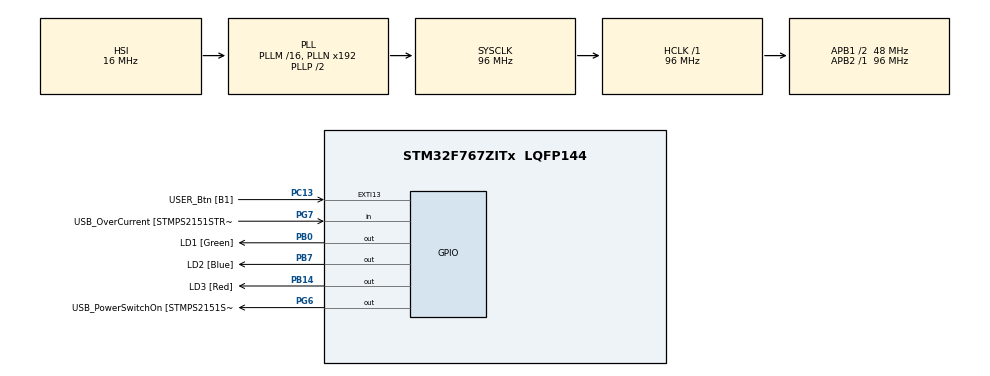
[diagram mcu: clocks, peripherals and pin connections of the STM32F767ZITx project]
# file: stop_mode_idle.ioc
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FREERTOS.Tasks01=defaultTask,24,128,StartDefaultTask,Default,NULL,Dynamic,NULL,NULL
Mcu.Family=STM32F7
Mcu.Name=STM32F767ZITx
Mcu.Package=LQFP144
NVIC.PriorityGroup=NVIC_PRIORITYGROUP_4
NVIC.RTC_WKUP_IRQn=true\:5\:0\:false\:false\:true\:true\:true\:true\:true
NVIC.TIM1_UP_TIM10_IRQn=true\:5\:0\:false\:false\:true\:true\:true\:true\:true
PA1.GPIO_Label=RMII_REF_CLK [LAN8742A-CZ-TR_REFCLK0]
PA1.Signal=ETH_REF_CLK
PA10.GPIO_Label=USB_ID
PA10.Signal=USB_OTG_FS_ID
PA11.GPIO_Label=USB_DM
PA11.Signal=USB_OTG_FS_DM
PA12.GPIO_Label=USB_DP
PA12.Signal=USB_OTG_FS_DP
PA13.GPIO_Label=TMS
PA13.Signal=SYS_JTMS-SWDIO
PA14.GPIO_Label=TCK
PA14.Signal=SYS_JTCK-SWCLK
PA2.GPIO_Label=RMII_MDIO [LAN8742A-CZ-TR_MDIO]
PA2.Signal=ETH_MDIO
PA7.GPIO_Label=RMII_CRS_DV [LAN8742A-CZ-TR_CRS_DV]
PA7.Signal=ETH_CRS_DV
PA8.GPIO_Label=USB_SOF [TP1]
PA8.Signal=USB_OTG_FS_SOF
PA9.GPIO_Label=USB_VBUS
PA9.Signal=USB_OTG_FS_VBUS
PB0.GPIO_Label=LD1 [Green]
PB0.Signal=GPIO_Output
PB13.GPIO_Label=RMII_TXD1 [LAN8742A-CZ-TR_TXD1]
PB13.Signal=ETH_TXD1
PB14.GPIO_Label=LD3 [Red]
PB14.Signal=GPIO_Output
PB3.GPIO_Label=SW0
PB3.Signal=SYS_JTDO-SWO
PB7.GPIO_Label=LD2 [Blue]
PB7.Signal=GPIO_Output
PC1.GPIO_Label=RMII_MDC [LAN8742A-CZ-TR_MDC]
PC1.Signal=ETH_MDC
PC13.GPIO_Label=USER_Btn [B1]
PC13.Signal=GPXTI13
PC14/OSC32_IN.Signal=RCC_OSC32_IN
PC15/OSC32_OUT.Signal=RCC_OSC32_OUT
PC4.GPIO_Label=RMII_RXD0 [LAN8742A-CZ-TR_RXD0]
PC4.Signal=ETH_RXD0
PC5.GPIO_Label=RMII_RXD1 [LAN8742A-CZ-TR_RXD1]
PC5.Signal=ETH_RXD1
PD8.GPIO_Label=STLK_RX [STM32F103CBT6_PA3]
PD8.Signal=USART3_TX
PD9.GPIO_Label=STLK_TX [STM32F103CBT6_PA2]
PD9.Signal=USART3_RX
PG11.GPIO_Label=RMII_TX_EN [LAN8742A-CZ-TR_TXEN]
PG11.Signal=ETH_TX_EN
PG13.GPIO_Label=RMII_TXD0 [LAN8742A-CZ-TR_TXD0]
PG13.Signal=ETH_TXD0
PG6.GPIO_Label=USB_PowerSwitchOn [STMPS2151STR_EN]
PG6.Signal=GPIO_Output
PG7.GPIO_Label=USB_OverCurrent [STMPS2151STR_FAULT]
PG7.Signal=GPIO_Input
PH0/OSC_IN.GPIO_Label=MCO [STM32F103CBT6_PA8]
PH0/OSC_IN.Signal=RCC_OSC_IN
PH1/OSC_OUT.Signal=RCC_OSC_OUT
ProjectManager.HeapSize=0x200
ProjectManager.StackSize=0x400
ProjectManager.TargetToolchain=STM32CubeIDE
RCC.48MHZClocksFreq_Value=24000000
RCC.AHBFreq_Value=96000000
RCC.APB1CLKDivider=RCC_HCLK_DIV2
RCC.APB1Freq_Value=48000000
RCC.APB1TimFreq_Value=96000000
RCC.APB2Freq_Value=96000000
RCC.APB2TimFreq_Value=96000000
RCC.CortexFreq_Value=96000000
RCC.HCLKFreq_Value=96000000
RCC.HSE_VALUE=16000000
RCC.HSI_VALUE=16000000
RCC.LSE_VALUE=32768
RCC.PLLMUL=RCC_PLL_MUL9
RCC.PRESCALERUSB=RCC_USBCLKSOURCE_PLL_DIV1_5
RCC.SYSCLKFreq_VALUE=96000000
RCC.SYSCLKSource=RCC_SYSCLKSOURCE_PLLCLK
RCC.SYSCLKSourceVirtual=RCC_SYSCLKSOURCE_PLLCLK
RCC.USBFreq_Value=96000000
RCC.VCOOutputFreq_Value=192000000
RTC.WakeUpClock-WakeUp=RTC_WAKEUPCLOCK_RTCCLK_DIV16
RTC.WakeUpCounter-WakeUp=12288
TIM1.Prescaler=8000
VP_FREERTOS_VS_CMSIS_V2.Mode=CMSIS_V2
VP_RTC_VS_RTC_Activate.Mode=RTC_Enabled
VP_RTC_VS_RTC_WakeUp_intern.Mode=WakeUp
VP_TIM1_VS_ClockSourceINT.Mode=Internal
board=NUCLEO-F767ZI

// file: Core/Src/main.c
/* USER CODE BEGIN Header */
/**
 ******************************************************************************
 * @file           : main.c
 * @brief          : Main program body
 ******************************************************************************
 * @attention
 *
 * Copyright (c) 2025 STMicroelectronics.
 * All rights reserved.
 *
 * This software is licensed under terms that can be found in the LICENSE file
 * in the root directory of this software component.
 * If no LICENSE file comes with this software, it is provided AS-IS.
 *
 ******************************************************************************
 */
/* USER CODE END Header */
#include "main.h"
#include "cmsis_os.h"

RTC_HandleTypeDef hrtc;

TIM_HandleTypeDef htim1;

/* Definitions for defaultTask */
osThreadId_t defaultTaskHandle;
const osThreadAttr_t defaultTask_attributes = {
  .name = "defaultTask",
  .stack_size = 128 * 4,
  .priority = (osPriority_t) osPriorityNormal,
};

void SystemClock_Config(void);
static void MX_GPIO_Init(void);
static void MX_TIM1_Init(void);
static void MX_RTC_Init(void);
void StartDefaultTask(void *argument);

/* USER CODE BEGIN PFP */
void activeTask();

/* USER CODE END PFP */

int main(void)
{

  /* MCU Configuration--------------------------------------------------------*/

  /* Reset of all peripherals, Initializes the Flash interface and the Systick. */
  HAL_Init();

  /* Configure the system clock */
  SystemClock_Config();

  /* Initialize all configured peripherals */
  MX_GPIO_Init();
  MX_TIM1_Init();
  MX_RTC_Init();
  /* USER CODE BEGIN 2 */
	HAL_TIM_Base_Start_IT(&htim1);
  /* USER CODE END 2 */

  /* Init scheduler */
  osKernelInitialize();

  /* Create the thread(s) */
  /* creation of defaultTask */
  defaultTaskHandle = osThreadNew(StartDefaultTask, NULL, &defaultTask_attributes);

  /* USER CODE BEGIN RTOS_THREADS */
	/* add threads, ... */

	uint32_t activeTaskHandle = xTaskCreate(activeTask, "Active task", 128 * 4,
	NULL, 26, NULL);
  /* USER CODE END RTOS_THREADS */

  /* Start scheduler */
  osKernelStart();

  /* We should never get here as control is now taken by the scheduler */

  /* Infinite loop */
	while (1) {

	}
}

void SystemClock_Config(void)
{
  RCC_OscInitTypeDef RCC_OscInitStruct = {0};
  RCC_ClkInitTypeDef RCC_ClkInitStruct = {0};

  /** Configure the main internal regulator output voltage
  */
  __HAL_RCC_PWR_CLK_ENABLE();
  __HAL_PWR_VOLTAGESCALING_CONFIG(PWR_REGULATOR_VOLTAGE_SCALE3);

  /** Initializes the RCC Oscillators according to the specified parameters
  * in the RCC_OscInitTypeDef structure.
  */
  RCC_OscInitStruct.OscillatorType = RCC_OSCILLATORTYPE_HSI|RCC_OSCILLATORTYPE_LSI;
  RCC_OscInitStruct.HSIState = RCC_HSI_ON;
  RCC_OscInitStruct.HSICalibrationValue = RCC_HSICALIBRATION_DEFAULT;
  RCC_OscInitStruct.LSIState = RCC_LSI_ON;
  RCC_OscInitStruct.PLL.PLLState = RCC_PLL_ON;
  RCC_OscInitStruct.PLL.PLLSource = RCC_PLLSOURCE_HSI;
  RCC_OscInitStruct.PLL.PLLM = 16;
  RCC_OscInitStruct.PLL.PLLN = 192;
  RCC_OscInitStruct.PLL.PLLP = RCC_PLLP_DIV2;
  RCC_OscInitStruct.PLL.PLLQ = 2;
  RCC_OscInitStruct.PLL.PLLR = 2;
  if (HAL_RCC_OscConfig(&RCC_OscInitStruct) != HAL_OK)
  {
    Error_Handler();
  }

  /** Activate the Over-Drive mode
  */
  if (HAL_PWREx_EnableOverDrive() != HAL_OK)
  {
    Error_Handler();
  }

  /** Initializes the CPU, AHB and APB buses clocks
  */
  RCC_ClkInitStruct.ClockType = RCC_CLOCKTYPE_HCLK|RCC_CLOCKTYPE_SYSCLK
                              |RCC_CLOCKTYPE_PCLK1|RCC_CLOCKTYPE_PCLK2;
  RCC_ClkInitStruct.SYSCLKSource = RCC_SYSCLKSOURCE_PLLCLK;
  RCC_ClkInitStruct.AHBCLKDivider = RCC_SYSCLK_DIV1;
  RCC_ClkInitStruct.APB1CLKDivider = RCC_HCLK_DIV2;
  RCC_ClkInitStruct.APB2CLKDivider = RCC_HCLK_DIV1;

  if (HAL_RCC_ClockConfig(&RCC_ClkInitStruct, FLASH_LATENCY_3) != HAL_OK)
  {
    Error_Handler();
  }
}

static void MX_RTC_Init(void)
{

  /** Initialize RTC Only
  */
  hrtc.Instance = RTC;
  hrtc.Init.HourFormat = RTC_HOURFORMAT_24;
  hrtc.Init.AsynchPrediv = 127;
  hrtc.Init.SynchPrediv = 255;
  hrtc.Init.OutPut = RTC_OUTPUT_DISABLE;
  hrtc.Init.OutPutPolarity = RTC_OUTPUT_POLARITY_HIGH;
  hrtc.Init.OutPutType = RTC_OUTPUT_TYPE_OPENDRAIN;
  if (HAL_RTC_Init(&hrtc) != HAL_OK)
  {
    Error_Handler();
  }

  /** Enable the WakeUp
  */
  if (HAL_RTCEx_SetWakeUpTimer_IT(&hrtc, 12288, RTC_WAKEUPCLOCK_RTCCLK_DIV16) != HAL_OK)
  {
    Error_Handler();
  }

}

static void MX_TIM1_Init(void)
{

  TIM_ClockConfigTypeDef sClockSourceConfig = {0};
  TIM_MasterConfigTypeDef sMasterConfig = {0};

  htim1.Instance = TIM1;
  htim1.Init.Prescaler = 8000;
  htim1.Init.CounterMode = TIM_COUNTERMODE_UP;
  htim1.Init.Period = 65535;
  htim1.Init.ClockDivision = TIM_CLOCKDIVISION_DIV1;
  htim1.Init.RepetitionCounter = 0;
  htim1.Init.AutoReloadPreload = TIM_AUTORELOAD_PRELOAD_DISABLE;
  if (HAL_TIM_Base_Init(&htim1) != HAL_OK)
  {
    Error_Handler();
  }
  sClockSourceConfig.ClockSource = TIM_CLOCKSOURCE_INTERNAL;
  if (HAL_TIM_ConfigClockSource(&htim1, &sClockSourceConfig) != HAL_OK)
  {
    Error_Handler();
  }
  sMasterConfig.MasterOutputTrigger = TIM_TRGO_RESET;
  sMasterConfig.MasterOutputTrigger2 = TIM_TRGO2_RESET;
  sMasterConfig.MasterSlaveMode = TIM_MASTERSLAVEMODE_DISABLE;
  if (HAL_TIMEx_MasterConfigSynchronization(&htim1, &sMasterConfig) != HAL_OK)
  {
    Error_Handler();
  }

}

static void MX_GPIO_Init(void)
{
  GPIO_InitTypeDef GPIO_InitStruct = {0};

  /* GPIO Ports Clock Enable */
  __HAL_RCC_GPIOE_CLK_ENABLE();
  __HAL_RCC_GPIOC_CLK_ENABLE();
  __HAL_RCC_GPIOF_CLK_ENABLE();
  __HAL_RCC_GPIOH_CLK_ENABLE();
  __HAL_RCC_GPIOA_CLK_ENABLE();
  __HAL_RCC_GPIOB_CLK_ENABLE();
  __HAL_RCC_GPIOG_CLK_ENABLE();
  __HAL_RCC_GPIOD_CLK_ENABLE();

  /*Configure GPIO pin Output Level */
  HAL_GPIO_WritePin(GPIOB, LD1_Pin|LD3_Pin|LD2_Pin, GPIO_PIN_RESET);

  /*Configure GPIO pin Output Level */
  HAL_GPIO_WritePin(USB_PowerSwitchOn_GPIO_Port, USB_PowerSwitchOn_Pin, GPIO_PIN_RESET);

  /*Configure GPIO pins : PE2 PE3 PE4 PE5
                           PE6 PE7 PE8 PE9
                           PE10 PE11 PE12 PE13
                           PE14 PE15 PE0 PE1 */
  GPIO_InitStruct.Pin = GPIO_PIN_2|GPIO_PIN_3|GPIO_PIN_4|GPIO_PIN_5
                          |GPIO_PIN_6|GPIO_PIN_7|GPIO_PIN_8|GPIO_PIN_9
                          |GPIO_PIN_10|GPIO_PIN_11|GPIO_PIN_12|GPIO_PIN_13
                          |GPIO_PIN_14|GPIO_PIN_15|GPIO_PIN_0|GPIO_PIN_1;
  GPIO_InitStruct.Mode = GPIO_MODE_ANALOG;
  GPIO_InitStruct.Pull = GPIO_NOPULL;
  HAL_GPIO_Init(GPIOE, &GPIO_InitStruct);

  /*Configure GPIO pin : USER_Btn_Pin */
  GPIO_InitStruct.Pin = USER_Btn_Pin;
  GPIO_InitStruct.Mode = GPIO_MODE_IT_RISING;
  GPIO_InitStruct.Pull = GPIO_NOPULL;
  HAL_GPIO_Init(USER_Btn_GPIO_Port, &GPIO_InitStruct);

  /*Configure GPIO pins : PF0 PF1 PF2 PF3
                           PF4 PF5 PF6 PF7
                           PF8 PF9 PF10 PF11
                           PF12 PF13 PF14 PF15 */
  GPIO_InitStruct.Pin = GPIO_PIN_0|GPIO_PIN_1|GPIO_PIN_2|GPIO_PIN_3
                          |GPIO_PIN_4|GPIO_PIN_5|GPIO_PIN_6|GPIO_PIN_7
                          |GPIO_PIN_8|GPIO_PIN_9|GPIO_PIN_10|GPIO_PIN_11
                          |GPIO_PIN_12|GPIO_PIN_13|GPIO_PIN_14|GPIO_PIN_15;
  GPIO_InitStruct.Mode = GPIO_MODE_ANALOG;
  GPIO_InitStruct.Pull = GPIO_NOPULL;
  HAL_GPIO_Init(GPIOF, &GPIO_InitStruct);

  /*Configure GPIO pins : PC0 PC2 PC3 PC6
                           PC7 PC8 PC9 PC10
                           PC11 PC12 */
  GPIO_InitStruct.Pin = GPIO_PIN_0|GPIO_PIN_2|GPIO_PIN_3|GPIO_PIN_6
                          |GPIO_PIN_7|GPIO_PIN_8|GPIO_PIN_9|GPIO_PIN_10
                          |GPIO_PIN_11|GPIO_PIN_12;
  GPIO_InitStruct.Mode = GPIO_MODE_ANALOG;
  GPIO_InitStruct.Pull = GPIO_NOPULL;
  HAL_GPIO_Init(GPIOC, &GPIO_InitStruct);

  /*Configure GPIO pins : RMII_MDC_Pin RMII_RXD0_Pin RMII_RXD1_Pin */
  GPIO_InitStruct.Pin = RMII_MDC_Pin|RMII_RXD0_Pin|RMII_RXD1_Pin;
  GPIO_InitStruct.Mode = GPIO_MODE_AF_PP;
  GPIO_InitStruct.Pull = GPIO_NOPULL;
  GPIO_InitStruct.Speed = GPIO_SPEED_FREQ_VERY_HIGH;
  GPIO_InitStruct.Alternate = GPIO_AF11_ETH;
  HAL_GPIO_Init(GPIOC, &GPIO_InitStruct);

  /*Configure GPIO pins : PA0 PA3 PA4 PA5
                           PA6 PA15 */
  GPIO_InitStruct.Pin = GPIO_PIN_0|GPIO_PIN_3|GPIO_PIN_4|GPIO_PIN_5
                          |GPIO_PIN_6|GPIO_PIN_15;
  GPIO_InitStruct.Mode = GPIO_MODE_ANALOG;
  GPIO_InitStruct.Pull = GPIO_NOPULL;
  HAL_GPIO_Init(GPIOA, &GPIO_InitStruct);

  /*Configure GPIO pins : RMII_REF_CLK_Pin RMII_MDIO_Pin RMII_CRS_DV_Pin */
  GPIO_InitStruct.Pin = RMII_REF_CLK_Pin|RMII_MDIO_Pin|RMII_CRS_DV_Pin;
  GPIO_InitStruct.Mode = GPIO_MODE_AF_PP;
  GPIO_InitStruct.Pull = GPIO_NOPULL;
  GPIO_InitStruct.Speed = GPIO_SPEED_FREQ_VERY_HIGH;
  GPIO_InitStruct.Alternate = GPIO_AF11_ETH;
  HAL_GPIO_Init(GPIOA, &GPIO_InitStruct);

  /*Configure GPIO pins : LD1_Pin LD3_Pin LD2_Pin */
  GPIO_InitStruct.Pin = LD1_Pin|LD3_Pin|LD2_Pin;
  GPIO_InitStruct.Mode = GPIO_MODE_OUTPUT_PP;
  GPIO_InitStruct.Pull = GPIO_NOPULL;
  GPIO_InitStruct.Speed = GPIO_SPEED_FREQ_LOW;
  HAL_GPIO_Init(GPIOB, &GPIO_InitStruct);

  /*Configure GPIO pins : PB1 PB2 PB10 PB11
                           PB12 PB15 PB4 PB5
                           PB6 PB8 PB9 */
  GPIO_InitStruct.Pin = GPIO_PIN_1|GPIO_PIN_2|GPIO_PIN_10|GPIO_PIN_11
                          |GPIO_PIN_12|GPIO_PIN_15|GPIO_PIN_4|GPIO_PIN_5
                          |GPIO_PIN_6|GPIO_PIN_8|GPIO_PIN_9;
  GPIO_InitStruct.Mode = GPIO_MODE_ANALOG;
  GPIO_InitStruct.Pull = GPIO_NOPULL;
  HAL_GPIO_Init(GPIOB, &GPIO_InitStruct);

  /*Configure GPIO pins : PG0 PG1 PG2 PG3
                           PG4 PG5 PG8 PG9
                           PG10 PG12 PG14 PG15 */
  GPIO_InitStruct.Pin = GPIO_PIN_0|GPIO_PIN_1|GPIO_PIN_2|GPIO_PIN_3
                          |GPIO_PIN_4|GPIO_PIN_5|GPIO_PIN_8|GPIO_PIN_9
                          |GPIO_PIN_10|GPIO_PIN_12|GPIO_PIN_14|GPIO_PIN_15;
  GPIO_InitStruct.Mode = GPIO_MODE_ANALOG;
  GPIO_InitStruct.Pull = GPIO_NOPULL;
  HAL_GPIO_Init(GPIOG, &GPIO_InitStruct);

  /*Configure GPIO pin : RMII_TXD1_Pin */
  GPIO_InitStruct.Pin = RMII_TXD1_Pin;
  GPIO_InitStruct.Mode = GPIO_MODE_AF_PP;
  GPIO_InitStruct.Pull = GPIO_NOPULL;
  GPIO_InitStruct.Speed = GPIO_SPEED_FREQ_VERY_HIGH;
  GPIO_InitStruct.Alternate = GPIO_AF11_ETH;
  HAL_GPIO_Init(RMII_TXD1_GPIO_Port, &GPIO_InitStruct);

  /*Configure GPIO pins : STLK_RX_Pin STLK_TX_Pin */
  GPIO_InitStruct.Pin = STLK_RX_Pin|STLK_TX_Pin;
  GPIO_InitStruct.Mode = GPIO_MODE_AF_PP;
  GPIO_InitStruct.Pull = GPIO_NOPULL;
  GPIO_InitStruct.Speed = GPIO_SPEED_FREQ_VERY_HIGH;
  GPIO_InitStruct.Alternate = GPIO_AF7_USART3;
  HAL_GPIO_Init(GPIOD, &GPIO_InitStruct);

  /*Configure GPIO pins : PD10 PD11 PD12 PD13
                           PD14 PD15 PD0 PD1
                           PD2 PD3 PD4 PD5
                           PD6 PD7 */
  GPIO_InitStruct.Pin = GPIO_PIN_10|GPIO_PIN_11|GPIO_PIN_12|GPIO_PIN_13
                          |GPIO_PIN_14|GPIO_PIN_15|GPIO_PIN_0|GPIO_PIN_1
                          |GPIO_PIN_2|GPIO_PIN_3|GPIO_PIN_4|GPIO_PIN_5
                          |GPIO_PIN_6|GPIO_PIN_7;
  GPIO_InitStruct.Mode = GPIO_MODE_ANALOG;
  GPIO_InitStruct.Pull = GPIO_NOPULL;
  HAL_GPIO_Init(GPIOD, &GPIO_InitStruct);

  /*Configure GPIO pin : USB_PowerSwitchOn_Pin */
  GPIO_InitStruct.Pin = USB_PowerSwitchOn_Pin;
  GPIO_InitStruct.Mode = GPIO_MODE_OUTPUT_PP;
  GPIO_InitStruct.Pull = GPIO_NOPULL;
  GPIO_InitStruct.Speed = GPIO_SPEED_FREQ_LOW;
  HAL_GPIO_Init(USB_PowerSwitchOn_GPIO_Port, &GPIO_InitStruct);

  /*Configure GPIO pin : USB_OverCurrent_Pin */
  GPIO_InitStruct.Pin = USB_OverCurrent_Pin;
  GPIO_InitStruct.Mode = GPIO_MODE_INPUT;
  GPIO_InitStruct.Pull = GPIO_NOPULL;
  HAL_GPIO_Init(USB_OverCurrent_GPIO_Port, &GPIO_InitStruct);

  /*Configure GPIO pins : USB_SOF_Pin USB_ID_Pin USB_DM_Pin USB_DP_Pin */
  GPIO_InitStruct.Pin = USB_SOF_Pin|USB_ID_Pin|USB_DM_Pin|USB_DP_Pin;
  GPIO_InitStruct.Mode = GPIO_MODE_AF_PP;
  GPIO_InitStruct.Pull = GPIO_NOPULL;
  GPIO_InitStruct.Speed = GPIO_SPEED_FREQ_VERY_HIGH;
  GPIO_InitStruct.Alternate = GPIO_AF10_OTG_FS;
  HAL_GPIO_Init(GPIOA, &GPIO_InitStruct);

  /*Configure GPIO pin : USB_VBUS_Pin */
  GPIO_InitStruct.Pin = USB_VBUS_Pin;
  GPIO_InitStruct.Mode = GPIO_MODE_INPUT;
  GPIO_InitStruct.Pull = GPIO_NOPULL;
  HAL_GPIO_Init(USB_VBUS_GPIO_Port, &GPIO_InitStruct);

  /*Configure GPIO pins : RMII_TX_EN_Pin RMII_TXD0_Pin */
  GPIO_InitStruct.Pin = RMII_TX_EN_Pin|RMII_TXD0_Pin;
  GPIO_InitStruct.Mode = GPIO_MODE_AF_PP;
  GPIO_InitStruct.Pull = GPIO_NOPULL;
  GPIO_InitStruct.Speed = GPIO_SPEED_FREQ_VERY_HIGH;
  GPIO_InitStruct.Alternate = GPIO_AF11_ETH;
  HAL_GPIO_Init(GPIOG, &GPIO_InitStruct);

}

/* USER CODE BEGIN 4 */

void activeTask() {

	do {

		HAL_SuspendTick();
		HAL_PWR_EnterSTOPMode(PWR_LOWPOWERREGULATOR_ON, PWR_STOPENTRY_WFI);
		HAL_ResumeTick();
#if LIT == 1
		HAL_GPIO_WritePin(GPIOB, GPIO_PIN_7, GPIO_PIN_SET);
#endif
		HAL_Delay(500);
#if LIT == 1
		HAL_GPIO_WritePin(GPIOB, GPIO_PIN_7, GPIO_PIN_RESET);
#endif

	} while (1);
}
/* USER CODE END 4 */

void StartDefaultTask(void *argument)
{
	osDelay(1);
}

void Error_Handler(void)
{
	__disable_irq();
	while (1) {
	}
}
